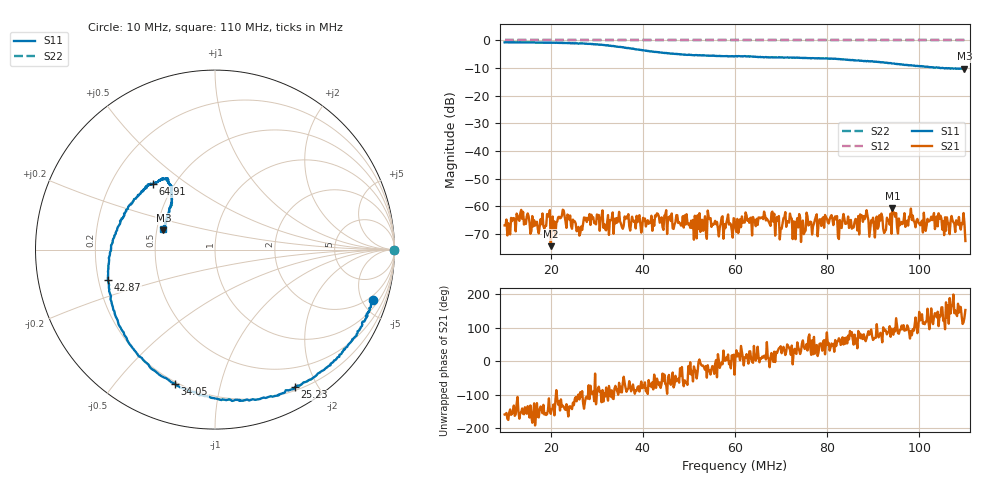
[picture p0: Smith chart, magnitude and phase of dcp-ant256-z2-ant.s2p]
! Anritsu VNA Master:  Model: MS2034B/10/19/501
! SN:  1337062
! /bd0/ovro-jan-2016/dcp-ant256-z2-ant.s2p
! Existing Calibration Information:
! TYPE:  Current Settings,  Active Cal Settings
! TIME:  01/12/2016 03:46:53 PM,  01/12/2016 03:37:40 PM
! INTERNAL TEMP:  41.0 C,  41.5 C
! # POINTS:  500,  500
! START FREQ:  10.000 MHz,  10.000 MHz
! STOP FREQ:  110.000 MHz,  110.000 MHz
! SOURCE POWER:  Low,  Low
! IFBW:  1 kHz,  1 kHz
! AVG FACTOR:  4 ,  4
! REF PLANE 1:  2.2245 m,  2.2245 m
! REF PLANE 2:  0 mm,  0 mm
! CAL TYPE:  Full S11,  Full S11
! CAL METHOD:  SOLT,  SOLT
! CAL LINE TYPE:  Coax,  Coax
! DUT PORT 1:  K-Conn(M),  K-Conn(M)
! DUT PORT 2:  N-Conn(M),  N-Conn(M)
! CAL STATUS:  OK: Accuracy High,  --
# GHZ S DB R 50.0
! FREQ.GHZ  S11DB  S11A  S21DB  S21A  S12DB  S12A  S22DB  S22A
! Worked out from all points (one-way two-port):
!   500 points, 10 MHz to 110 MHz, reference 50 ohm
!   highest |S21| = -60.77 dB at 94.17 MHz (marker M1); lowest = -74.4 dB at 20.02 MHz (marker M2)
!   lowest |S11| = -10.3 dB at 109.8 MHz (marker M3), VSWR 1.89, Z = 27.1 + j6.5 ohm
!   |S11| at or under -10 dB: 104.5652 MHz to 104.7016 MHz (136.3 kHz wide, 0.13 % of centre); 105.2963 MHz to 105.7862 MHz (489.9 kHz wide, 0.464 % of centre); 105.8 MHz to end of sweep
!   |S22| runs from 0.0 to 0.0 dB; largest |S21 - S12| = 1
!   S11 on the Smith chart (normalised r, x): 10 MHz: 1.57, -6.03; 25.23 MHz: 0.24, -1.71; 34.05 MHz: 0.19, -0.73; 42.87 MHz: 0.24, -0.13; 64.91 MHz: 0.38, +0.38; 110 MHz: 0.54, +0.13
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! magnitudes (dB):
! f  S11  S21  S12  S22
! 10 MHz  -0.7  -66.9  0.0  0.0
! 13.61 MHz  -0.7  -61.3  0.0  0.0
! 15.81 MHz  -0.7  -69.0  0.0  0.0
! 20.02 MHz  -0.8  -74.4  0.0  0.0
! 22.63 MHz  -0.9  -61.2  0.0  0.0
! 25.23 MHz  -1.0  -65.4  0.0  0.0
! 26.83 MHz  -1.0  -68.5  0.0  0.0
! 34.05 MHz  -2.2  -66.2  0.0  0.0
! 42.87 MHz  -4.2  -63.7  0.0  0.0
! 43.47 MHz  -4.3  -63.5  0.0  0.0
! 60.1 MHz  -5.7  -67.8  0.0  0.0
! 64.91 MHz  -6.0  -66.7  0.0  0.0
! 76.73 MHz  -6.4  -70.2  0.0  0.0
! 81.34 MHz  -6.6  -66.8  0.0  0.0
! 82.75 MHz  -6.8  -64.9  0.0  0.0
! 88.36 MHz  -7.4  -63.3  0.0  0.0
! 92.57 MHz  -8.0  -69.0  0.0  0.0
! 93.37 MHz  -8.2  -64.9  0.0  0.0
! 94.17 MHz  -8.3  -60.8  0.0  0.0
! 95.57 MHz  -8.6  -64.4  0.0  0.0
! 109.8 MHz  -10.3  -66.1  0.0  0.0
! 110 MHz  -10.2  -72.5  0.0  0.0
